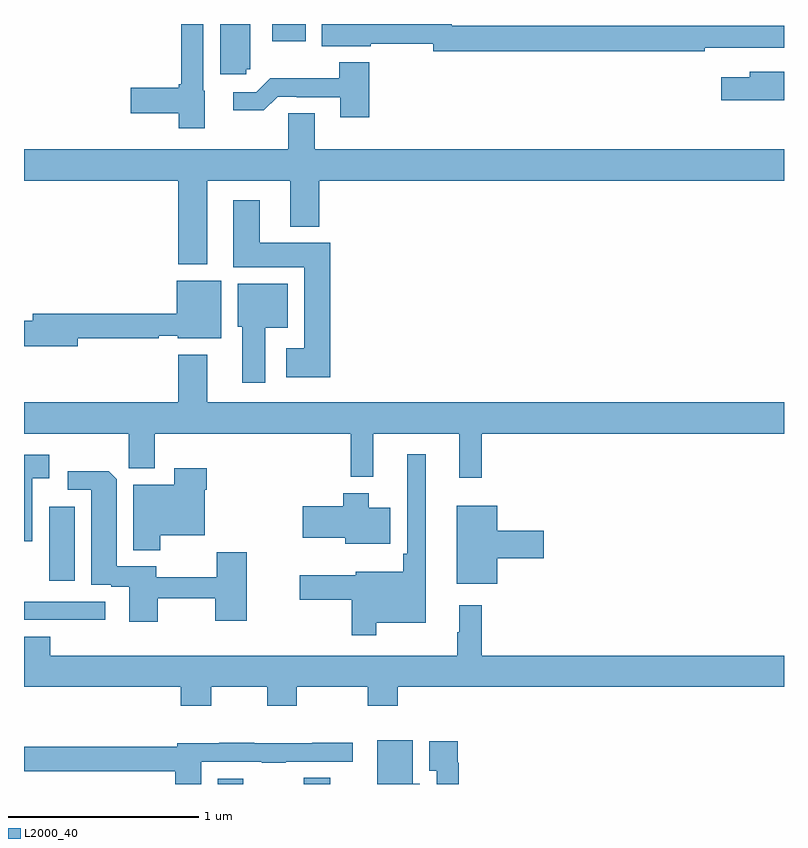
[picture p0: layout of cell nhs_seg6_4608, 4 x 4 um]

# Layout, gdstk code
import gdstk
lib = gdstk.Library(unit=1e-6, precision=1e-09)
def R(c, l, rs):  # rectangles x0, y0, x1, y1
    for r in rs: c.add(gdstk.rectangle(r[:2], r[2:], *l))
def P(c, l, *ps):  # polygons
    for p in ps: c.add(gdstk.Polygon(p, *l))
L2000_40 = (2000, 40)

nhs_seg6_4608 = lib.new_cell('nhs_seg6_4608')
R(nhs_seg6_4608, L2000_40, [(384.02,937.5,384.154,937.528), (384.473,937.5,384.613,937.532), (383,938.364,383.428,938.46), (383.132,938.57,383.266,938.959), (384.306,941.408,384.483,941.5)])
P(nhs_seg6_4608, L2000_40, [(384.171,941.262),(384.19,941.262),(384.19,941.5),(384.032,941.5),(384.032,941.235),(384.171,941.235)],
  [(383.95,941.148),(383.943,941.148),(383.943,941.5),(383.827,941.5),(383.827,941.183),(383.814,941.183),(383.814,941.165),(383.562,941.165),(383.562,941.03),(383.814,941.03),(383.814,940.952),(383.95,940.952)],
  [(386.582,941.376),(387,941.376),(387,941.492),(385.251,941.492),(385.251,941.5),(384.568,941.5),(384.568,941.384),(384.826,941.384),(384.826,941.395),(385.155,941.395),(385.155,941.356),(386.582,941.356)],
  [(384.818,941.299),(384.658,941.299),(384.658,941.215),(384.295,941.215),(384.222,941.142),(384.102,941.142),(384.102,941.045),(384.263,941.045),(384.336,941.118),(384.436,941.118),(384.436,941.115),(384.665,941.115),(384.665,941.01),(384.818,941.01)],
  [(387,941.25),(386.819,941.25),(386.819,941.221),(386.67,941.221),(386.67,941.099),(387,941.099)],
  [(383.965,940.676),(384.401,940.676),(384.401,940.433),(384.554,940.433),(384.554,940.676),(387,940.676),(387,940.84),(384.529,940.84),(384.529,941.03),(384.39,941.03),(384.39,940.84),(383,940.84),(383,940.676),(383.813,940.676),(383.813,940.235),(383.965,940.235)],
  [(384.611,940.348),(384.241,940.348),(384.241,940.573),(384.101,940.573),(384.101,940.22),(384.476,940.22),(384.476,939.793),(384.381,939.793),(384.381,939.641),(384.611,939.641)],
  [(383.284,939.846),(383.708,939.846),(383.708,939.858),(383.808,939.858),(383.808,939.845),(384.037,939.845),(384.037,940.15),(383.804,940.15),(383.804,939.974),(383.045,939.974),(383.045,939.938),(383,939.938),(383,939.803),(383.284,939.803)],
  [(384.271,939.902),(384.388,939.902),(384.388,940.132),(384.125,940.132),(384.125,939.906),(384.149,939.906),(384.149,939.612),(384.271,939.612)],
  [(385.409,939.344),(387,939.344),(387,939.508),(383.965,939.508),(383.965,939.76),(383.813,939.76),(383.813,939.508),(383,939.508),(383,939.344),(383.551,939.344),(383.551,939.162),(383.689,939.162),(383.689,939.344),(384.721,939.344),(384.721,939.116),(384.839,939.116),(384.839,939.344),(385.292,939.344),(385.292,939.111),(385.409,939.111)],
  [(384.853,938.348),(385.114,938.348),(385.114,939.235),(385.017,939.235),(385.017,938.713),(384.997,938.713),(384.997,938.617),(384.747,938.617),(384.747,938.599),(384.45,938.599),(384.45,938.47),(384.724,938.47),(384.724,938.283),(384.853,938.283)],
  [(383.044,939.11),(383.134,939.11),(383.134,939.232),(383,939.232),(383,938.778),(383.044,938.778)],
  [(383.716,938.81),(383.95,938.81),(383.95,939.05),(383.963,939.05),(383.963,939.163),(383.792,939.163),(383.792,939.076),(383.576,939.076),(383.576,938.731),(383.716,938.731)],
  [(383.703,938.478),(384.007,938.478),(384.007,938.358),(384.172,938.358),(384.172,938.719),(384.014,938.719),(384.014,938.589),(383.695,938.589),(383.695,938.646),(383.488,938.646),(383.488,939.104),(383.446,939.146),(383.229,939.146),(383.229,939.048),(383.354,939.048),(383.354,938.55),(383.459,938.55),(383.459,938.538),(383.555,938.538),(383.555,938.355),(383.703,938.355)],
  [(384.928,938.953),(384.814,938.953),(384.814,939.031),(384.68,939.031),(384.68,938.961),(384.468,938.961),(384.468,938.795),(384.692,938.795),(384.692,938.765),(384.928,938.765)],
  [(385.492,938.687),(385.735,938.687),(385.735,938.834),(385.492,938.834),(385.492,938.965),(385.277,938.965),(385.277,938.555),(385.492,938.555)],
  [(383.985,938.012),(384.28,938.012),(384.28,937.913),(384.435,937.913),(384.435,938.012),(384.808,938.012),(384.808,937.913),(384.968,937.913),(384.968,938.012),(387,938.012),(387,938.176),(385.409,938.176),(385.409,938.44),(385.292,938.44),(385.292,938.3),(385.281,938.3),(385.281,938.176),(383.138,938.176),(383.138,938.275),(383,938.275),(383,938.012),(383.825,938.012),(383.825,937.913),(383.985,937.913)],
  [(385.084,937.502),(385.045,937.502),(385.045,937.729),(384.86,937.729),(384.86,937.5),(385.084,937.5)],
  [(385.289,937.613),(385.282,937.613),(385.282,937.726),(385.133,937.726),(385.133,937.57),(385.173,937.57),(385.173,937.5),(385.289,937.5)],
  [(383.932,937.617),(384.25,937.617),(384.25,937.612),(384.377,937.612),(384.377,937.617),(384.73,937.617),(384.73,937.718),(384.517,937.718),(384.517,937.715),(384.211,937.715),(384.211,937.718),(384.028,937.718),(384.028,937.715),(383.807,937.715),(383.807,937.696),(383,937.696),(383,937.567),(383.795,937.567),(383.795,937.5),(383.932,937.5)])

lib.write_gds('nhs_seg6_4608.gds')
